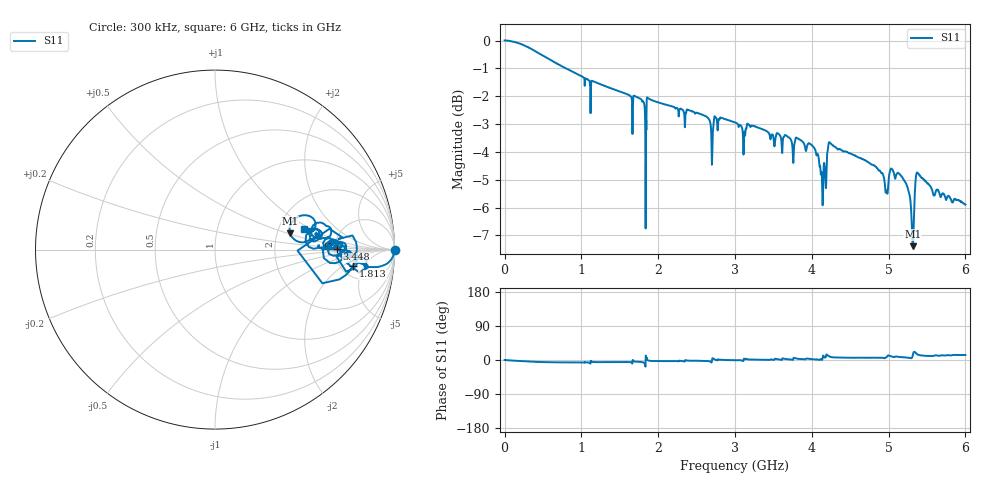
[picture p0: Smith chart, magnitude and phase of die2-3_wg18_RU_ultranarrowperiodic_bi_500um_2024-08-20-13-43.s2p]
!Keysight Technologies,P9374A,MY57304198,A.17.20.09
!Date: Tuesday, August 20, 2024 13:43:56
!Correction: S11(C  1-Port  )
!S21(C  1-Port  )
!S12(Off)
!S22(Off)
!S2P File: Measurements: S11, S21, S12, S22:
# Hz S  dB  R 50
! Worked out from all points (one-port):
!   6000 points, 300 kHz to 6 GHz, reference 50 ohm
!   lowest |S11| = -7.4 dB at 5.315 GHz (marker M1), VSWR 2.49, Z = 117 + j26.3 ohm
!   |S11| at or under -10 dB: nowhere
!   S11 on the Smith chart (normalised r, x): 300 kHz: open; 1.813 GHz: 6.45, -2.96; 3.448 GHz: 5.23, +0.06; 6 GHz: 2.75, +0.86
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300000  0.00 -0.0  -200.00 45.0  -200.00 45.0  -200.00 45.0
4.123481e8  -0.41 -5.0  -200.00 45.0  -200.00 45.0  -200.00 45.0
1.000417e9  -1.28 -6.5  -200.00 45.0  -200.00 45.0  -200.00 45.0
1.751504e9  -2.07 -4.9  -200.00 45.0  -200.00 45.0  -200.00 45.0
1.812511e9  -2.23 -6.8  -200.00 45.0  -200.00 45.0  -200.00 45.0
1.866518e9  -2.07 -0.9  -200.00 45.0  -200.00 45.0  -200.00 45.0
2.000533e9  -2.22 -3.0  -200.00 45.0  -200.00 45.0  -200.00 45.0
2.694614e9  -3.82 -6.6  -200.00 45.0  -200.00 45.0  -200.00 45.0
3.00065e9  -2.94 -0.3  -200.00 45.0  -200.00 45.0  -200.00 45.0
3.447702e9  -3.36 0.2  -200.00 45.0  -200.00 45.0  -200.00 45.0
4.000767e9  -3.76 2.3  -200.00 45.0  -200.00 45.0  -200.00 45.0
4.108779e9  -4.52 1.0  -200.00 45.0  -200.00 45.0  -200.00 45.0
4.160785e9  -4.40 8.0  -200.00 45.0  -200.00 45.0  -200.00 45.0
4.213792e9  -3.81 11.6  -200.00 45.0  -200.00 45.0  -200.00 45.0
4.928875e9  -4.82 5.4  -200.00 45.0  -200.00 45.0  -200.00 45.0
5.000883e9  -4.98 12.2  -200.00 45.0  -200.00 45.0  -200.00 45.0
5.206907e9  -5.04 7.1  -200.00 45.0  -200.00 45.0  -200.00 45.0
5.282916e9  -5.71 5.2  -200.00 45.0  -200.00 45.0  -200.00 45.0
5.31492e9  -7.39 12.4  -200.00 45.0  -200.00 45.0  -200.00 45.0
5.349924e9  -5.08 19.7  -200.00 45.0  -200.00 45.0  -200.00 45.0
5.393929e9  -4.80 13.2  -200.00 45.0  -200.00 45.0  -200.00 45.0
6e9  -5.90 13.2  -200.00 45.0  -200.00 45.0  -200.00 45.0
